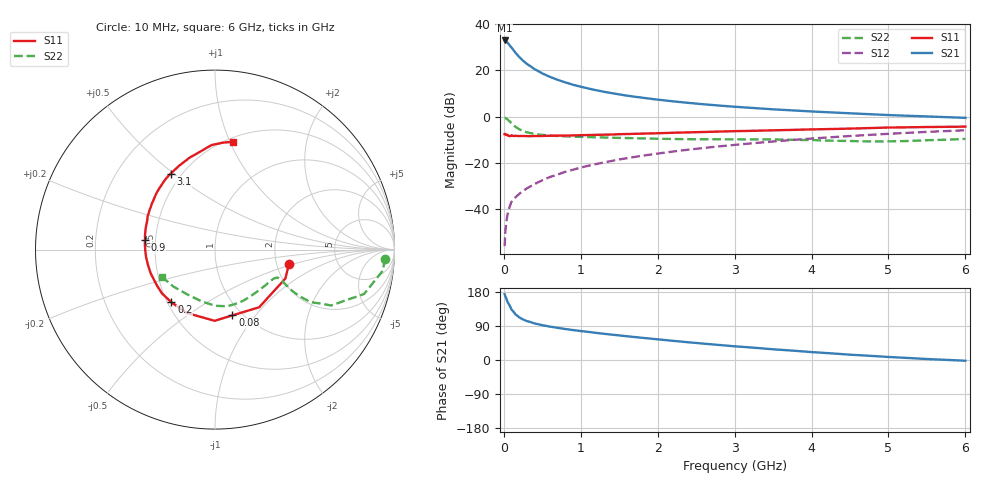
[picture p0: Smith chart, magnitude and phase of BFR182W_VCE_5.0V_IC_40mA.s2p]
! Infineon Technologies  Discrete & RF Semiconductors
! BFR182W
! VCE =  5.0 V,  IC =  40 mA
! Common Emitter S-Parameters:  Jan 2017
# GHz  S  MA  R  50
!  f  S11  S21  S12  S22
! GHz  MAG  ANG  MAG  ANG  MAG  ANG  MAG  ANG
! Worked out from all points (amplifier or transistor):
!   77 points, 10 MHz to 6 GHz, reference 50 ohm
!   highest |S21| = 32.9 dB at 10 MHz (marker M1)
!   |S21| within 3 dB of that: start of sweep to 97.89 MHz
!   unconditionally stable (mu >= 1): 476.6 MHz to 2.21 GHz
!   at 130 MHz: K = 0.58, MSG = 32.0 dB, |S12| = -35.5 dB
!   at 2.2 GHz: K = 1.00, MAG = 10.6 dB, |S12| = -15.1 dB
!   at 6 GHz: K = 0.87, MSG = 2.7 dB, |S12| = -5.9 dB
!   S11 on the Smith chart (normalised r, x): 10 MHz: 2.33, -0.47; 80 MHz: 0.90, -0.77; 200 MHz: 0.52, -0.36; 900 MHz: 0.44, +0.06; 3.1 GHz: 0.44, +0.49; 6 GHz: 0.54, +1.03
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0.01  0.4195 -11.3  44.17 173.7  0.0016 86.1  0.9478 -3.1
0.02  0.424 -22.3  44.02 168.2  0.0034 84.1  0.9428 -7.1
0.05  0.4047 -52.5  39.56 152.2  0.008 76.5  0.8664 -16.6
0.08  0.3791 -75.1  33.93 141.7  0.0119 68.4  0.7749 -21.6
0.1  0.3967 -90.3  30.99 132.8  0.0146 65.4  0.7179 -25.7
0.15  0.3865 -114.0  24.16 120.7  0.0181 64.2  0.6056 -28.8
0.2  0.3811 -129.6  19.42 112.6  0.0215 64.9  0.536 -28.9
0.25  0.3833 -140.6  16.16 106.8  0.025 65.1  0.4909 -28.2
0.3  0.3801 -148.6  13.73 102.7  0.0283 65.1  0.4588 -27.2
0.4  0.382 -159.8  10.6 96.4  0.035 69.6  0.4232 -25.6
0.5  0.3835 -168.0  8.582 91.8  0.0422 70.8  0.4035 -24.6
0.6  0.3865 -174.4  7.228 88.1  0.0499 72.0  0.39 -24.1
0.7  0.3886 -179.5  6.233 84.8  0.0563 73.5  0.3821 -24.2
0.9  0.3938 172.2  4.887 79.0  0.0716 74.1  0.3706 -25.3
1.1  0.4013 165.2  4.047 74.1  0.0872 74.4  0.3623 -27.3
1.3  0.4079 159.0  3.452 69.2  0.1027 74.2  0.3552 -29.7
1.5  0.4184 153.9  3.022 64.9  0.1192 73.4  0.3479 -32.9
2.1  0.4436 139.7  2.235 52.6  0.1681 70.3  0.3315 -44.9
3.1  0.4898 120.4  1.595 34.7  0.2547 62.6  0.3234 -68.7
4.1  0.5349 104.1  1.272 19.6  0.3458 53.2  0.3085 -92.5
5.1  0.5852 90.6  1.068 7.0  0.4347 42.5  0.2946 -124.9
6  0.609 80.4  0.943 -2.0  0.5086 32.5  0.3313 -152.2
